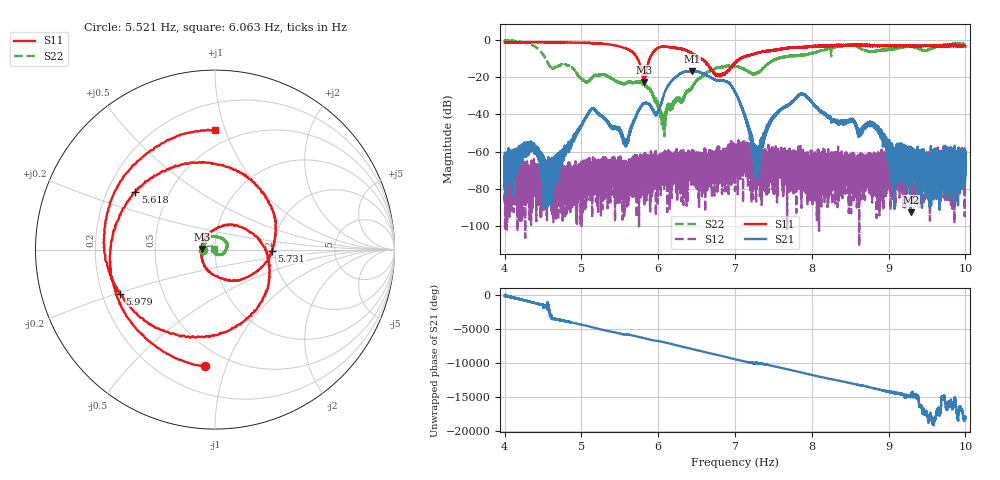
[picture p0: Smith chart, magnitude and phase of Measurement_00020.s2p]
!Created with skrf (http://scikit-rf.org).
# Hz S RI R 50.0
!freq ReS11 ImS11 ReS21 ImS21 ReS12 ImS12 ReS22 ImS22
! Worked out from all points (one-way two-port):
!   14001 points, 4 Hz to 10 Hz, reference 50 ohm
!   highest |S21| = -16.64 dB at 6.438 Hz (marker M1); lowest = -92.7 dB at 9.289 Hz (marker M2)
!   lowest |S11| = -22.6 dB at 5.814 Hz (marker M3), VSWR 1.16, Z = 43.1 + j0.31 ohm
!   |S11| at or under -10 dB: 5.732 Hz to 5.889 Hz (156.9 mHz wide, 2.7 % of centre); 6.563 Hz to 7.061 Hz (497.8 mHz wide, 7.31 % of centre); 7.061412 Hz to 7.068038 Hz (6.626 mHz wide, 0.0938 % of centre) (the widest 3 of 8)
!   |S22| runs from -51.8 to -0.2 dB; largest |S21 - S12| = 0.15
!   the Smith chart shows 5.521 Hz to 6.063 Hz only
!   S11 on the Smith chart (normalised r, x): 5.521 Hz: 0.37, -0.84; 5.618 Hz: 0.32, +0.29; 5.731 Hz: 1.93, -0.02; 5.979 Hz: 0.27, -0.20; 6.063 Hz: 0.39, +0.92
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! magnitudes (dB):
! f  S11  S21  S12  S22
! 4 Hz  -1.1  -64.9  -72.8  -0.2
! 4.354 Hz  -1.1  -55.6  -80.7  -2.6
! 4.566 Hz  -1.2  -77.6  -69.0  -12.5
! 5 Hz  -1.4  -46.0  -74.0  -20.7
! 5.153 Hz  -1.7  -36.7  -67.1  -19.6
! 5.521 Hz  -3.7  -50.6  -73.6  -23.2
! 5.618 Hz  -5.2  -51.7  -69.7  -22.4
! 5.731 Hz  -10.0  -38.9  -68.4  -22.3
! 5.814 Hz  -22.6  -34.2  -64.3  -23.8
! 5.979 Hz  -4.7  -39.6  -74.4  -33.4
! 6 Hz  -4.1  -38.3  -69.2  -34.9
! 6.063 Hz  -3.6  -30.9  -64.8  -44.0
! 6.438 Hz  -6.9  -16.6  -66.6  -25.6
! 6.775 Hz  -19.2  -21.8  -59.1  -14.8
! 7 Hz  -12.3  -27.9  -57.6  -14.1
! 7.287 Hz  -7.0  -68.4  -62.2  -17.8
! 7.555 Hz  -5.1  -39.3  -72.6  -9.9
! 8 Hz  -3.6  -33.1  -80.8  -6.9
! 8.794 Hz  -3.1  -45.2  -72.5  -6.2
! 9 Hz  -3.2  -58.8  -79.4  -5.0
! 9.289 Hz  -2.9  -92.7  -70.4  -3.4
! 10 Hz  -3.5  -65.9  -63.2  -3.1
